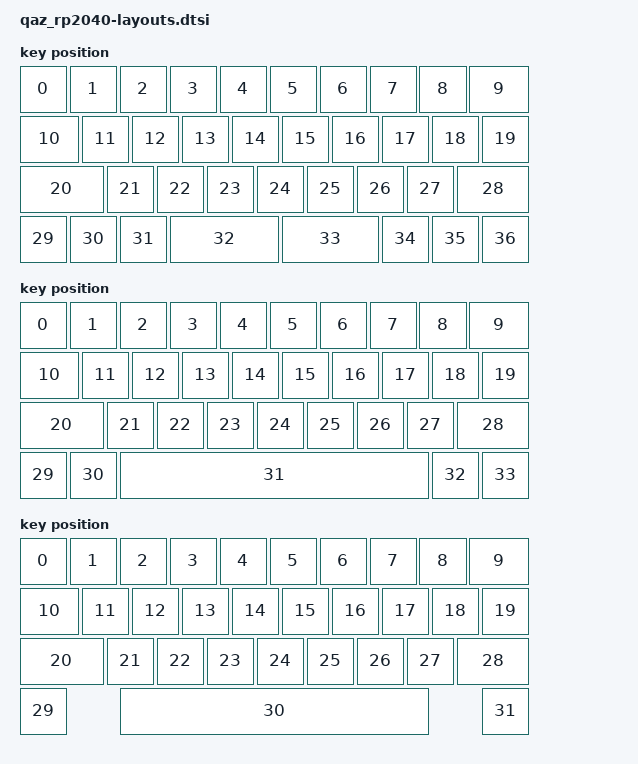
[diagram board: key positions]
/*
 * Copyright (c) 2024 The ZMK Contributors
 *
 * SPDX-License-Identifier: MIT
 */

#include <physical_layouts.dtsi>

/ {
    split_bar_layout: split_bar_layout {
        compatible = "zmk,physical-layout";
        display-name = "Split Bar";
        transform = <&split_bar_transform>;

        keys //                      w   h    x    y     rot    rx    ry
            = <&key_physical_attrs 100 100    0    0       0     0     0>
            , <&key_physical_attrs 100 100  100    0       0     0     0>
            , <&key_physical_attrs 100 100  200    0       0     0     0>
            , <&key_physical_attrs 100 100  300    0       0     0     0>
            , <&key_physical_attrs 100 100  400    0       0     0     0>
            , <&key_physical_attrs 100 100  500    0       0     0     0>
            , <&key_physical_attrs 100 100  600    0       0     0     0>
            , <&key_physical_attrs 100 100  700    0       0     0     0>
            , <&key_physical_attrs 100 100  800    0       0     0     0>
            , <&key_physical_attrs 125 100  900    0       0     0     0>

            , <&key_physical_attrs 125 100    0  100       0     0     0>
            , <&key_physical_attrs 100 100  125  100       0     0     0>
            , <&key_physical_attrs 100 100  225  100       0     0     0>
            , <&key_physical_attrs 100 100  325  100       0     0     0>
            , <&key_physical_attrs 100 100  425  100       0     0     0>
            , <&key_physical_attrs 100 100  525  100       0     0     0>
            , <&key_physical_attrs 100 100  625  100       0     0     0>
            , <&key_physical_attrs 100 100  725  100       0     0     0>
            , <&key_physical_attrs 100 100  825  100       0     0     0>
            , <&key_physical_attrs 100 100  925  100       0     0     0>

            , <&key_physical_attrs 175 100    0  200       0     0     0>
            , <&key_physical_attrs 100 100  175  200       0     0     0>
            , <&key_physical_attrs 100 100  275  200       0     0     0>
            , <&key_physical_attrs 100 100  375  200       0     0     0>
            , <&key_physical_attrs 100 100  475  200       0     0     0>
            , <&key_physical_attrs 100 100  575  200       0     0     0>
            , <&key_physical_attrs 100 100  675  200       0     0     0>
            , <&key_physical_attrs 100 100  775  200       0     0     0>
            , <&key_physical_attrs 150 100  875  200       0     0     0>

            , <&key_physical_attrs 100 100    0  300       0     0     0>
            , <&key_physical_attrs 100 100  100  300       0     0     0>
            , <&key_physical_attrs 100 100  200  300       0     0     0>
            , <&key_physical_attrs 225 100  300  300       0     0     0>
            , <&key_physical_attrs 200 100  525  300       0     0     0>
            , <&key_physical_attrs 100 100  725  300       0     0     0>
            , <&key_physical_attrs 100 100  825  300       0     0     0>
            , <&key_physical_attrs 100 100  925  300       0     0     0>
            ;
    };

    big_bar_layout: big_bar_layout {
        compatible = "zmk,physical-layout";
        display-name = "Big Bar";
        transform = <&big_bar_transform>;

        keys //                      w   h    x    y     rot    rx    ry
            = <&key_physical_attrs 100 100    0    0       0     0     0>
            , <&key_physical_attrs 100 100  100    0       0     0     0>
            , <&key_physical_attrs 100 100  200    0       0     0     0>
            , <&key_physical_attrs 100 100  300    0       0     0     0>
            , <&key_physical_attrs 100 100  400    0       0     0     0>
            , <&key_physical_attrs 100 100  500    0       0     0     0>
            , <&key_physical_attrs 100 100  600    0       0     0     0>
            , <&key_physical_attrs 100 100  700    0       0     0     0>
            , <&key_physical_attrs 100 100  800    0       0     0     0>
            , <&key_physical_attrs 125 100  900    0       0     0     0>

            , <&key_physical_attrs 125 100    0  100       0     0     0>
            , <&key_physical_attrs 100 100  125  100       0     0     0>
            , <&key_physical_attrs 100 100  225  100       0     0     0>
            , <&key_physical_attrs 100 100  325  100       0     0     0>
            , <&key_physical_attrs 100 100  425  100       0     0     0>
            , <&key_physical_attrs 100 100  525  100       0     0     0>
            , <&key_physical_attrs 100 100  625  100       0     0     0>
            , <&key_physical_attrs 100 100  725  100       0     0     0>
            , <&key_physical_attrs 100 100  825  100       0     0     0>
            , <&key_physical_attrs 100 100  925  100       0     0     0>

            , <&key_physical_attrs 175 100    0  200       0     0     0>
            , <&key_physical_attrs 100 100  175  200       0     0     0>
            , <&key_physical_attrs 100 100  275  200       0     0     0>
            , <&key_physical_attrs 100 100  375  200       0     0     0>
            , <&key_physical_attrs 100 100  475  200       0     0     0>
            , <&key_physical_attrs 100 100  575  200       0     0     0>
            , <&key_physical_attrs 100 100  675  200       0     0     0>
            , <&key_physical_attrs 100 100  775  200       0     0     0>
            , <&key_physical_attrs 150 100  875  200       0     0     0>

            , <&key_physical_attrs 100 100    0  300       0     0     0>
            , <&key_physical_attrs 100 100  100  300       0     0     0>
            , <&key_physical_attrs 625 100  200  300       0     0     0>
            , <&key_physical_attrs 100 100  825  300       0     0     0>
            , <&key_physical_attrs 100 100  925  300       0     0     0>
            ;
    };

    /omit-if-no-ref/ wkl_big_bar_layout: wkl_big_bar_layout {
        compatible = "zmk,physical-layout";
        display-name = "WKL Big Bar";
        transform = <&wkl_big_bar_transform>;

        keys //                      w   h    x    y     rot    rx    ry
            = <&key_physical_attrs 100 100    0    0       0     0     0>
            , <&key_physical_attrs 100 100  100    0       0     0     0>
            , <&key_physical_attrs 100 100  200    0       0     0     0>
            , <&key_physical_attrs 100 100  300    0       0     0     0>
            , <&key_physical_attrs 100 100  400    0       0     0     0>
            , <&key_physical_attrs 100 100  500    0       0     0     0>
            , <&key_physical_attrs 100 100  600    0       0     0     0>
            , <&key_physical_attrs 100 100  700    0       0     0     0>
            , <&key_physical_attrs 100 100  800    0       0     0     0>
            , <&key_physical_attrs 125 100  900    0       0     0     0>

            , <&key_physical_attrs 125 100    0  100       0     0     0>
            , <&key_physical_attrs 100 100  125  100       0     0     0>
            , <&key_physical_attrs 100 100  225  100       0     0     0>
            , <&key_physical_attrs 100 100  325  100       0     0     0>
            , <&key_physical_attrs 100 100  425  100       0     0     0>
            , <&key_physical_attrs 100 100  525  100       0     0     0>
            , <&key_physical_attrs 100 100  625  100       0     0     0>
            , <&key_physical_attrs 100 100  725  100       0     0     0>
            , <&key_physical_attrs 100 100  825  100       0     0     0>
            , <&key_physical_attrs 100 100  925  100       0     0     0>

            , <&key_physical_attrs 175 100    0  200       0     0     0>
            , <&key_physical_attrs 100 100  175  200       0     0     0>
            , <&key_physical_attrs 100 100  275  200       0     0     0>
            , <&key_physical_attrs 100 100  375  200       0     0     0>
            , <&key_physical_attrs 100 100  475  200       0     0     0>
            , <&key_physical_attrs 100 100  575  200       0     0     0>
            , <&key_physical_attrs 100 100  675  200       0     0     0>
            , <&key_physical_attrs 100 100  775  200       0     0     0>
            , <&key_physical_attrs 150 100  875  200       0     0     0>

            , <&key_physical_attrs 100 100    0  300       0     0     0>
            , <&key_physical_attrs 625 100  200  300       0     0     0>
            , <&key_physical_attrs 100 100  925  300       0     0     0>
            ;
    };

    /omit-if-no-ref/ wkl_split_bar_layout: wkl_split_bar_layout {
        compatible = "zmk,physical-layout";
        display-name = "WKL Split Bar";
        transform = <&wkl_split_bar_transform>;

        keys //                      w   h    x    y     rot    rx    ry
            = <&key_physical_attrs 100 100    0    0       0     0     0>
            , <&key_physical_attrs 100 100  100    0       0     0     0>
            , <&key_physical_attrs 100 100  200    0       0     0     0>
            , <&key_physical_attrs 100 100  300    0       0     0     0>
            , <&key_physical_attrs 100 100  400    0       0     0     0>
            , <&key_physical_attrs 100 100  500    0       0     0     0>
            , <&key_physical_attrs 100 100  600    0       0     0     0>
            , <&key_physical_attrs 100 100  700    0       0     0     0>
            , <&key_physical_attrs 100 100  800    0       0     0     0>
            , <&key_physical_attrs 125 100  900    0       0     0     0>

            , <&key_physical_attrs 125 100    0  100       0     0     0>
            , <&key_physical_attrs 100 100  125  100       0     0     0>
            , <&key_physical_attrs 100 100  225  100       0     0     0>
            , <&key_physical_attrs 100 100  325  100       0     0     0>
            , <&key_physical_attrs 100 100  425  100       0     0     0>
            , <&key_physical_attrs 100 100  525  100       0     0     0>
            , <&key_physical_attrs 100 100  625  100       0     0     0>
            , <&key_physical_attrs 100 100  725  100       0     0     0>
            , <&key_physical_attrs 100 100  825  100       0     0     0>
            , <&key_physical_attrs 100 100  925  100       0     0     0>

            , <&key_physical_attrs 175 100    0  200       0     0     0>
            , <&key_physical_attrs 100 100  175  200       0     0     0>
            , <&key_physical_attrs 100 100  275  200       0     0     0>
            , <&key_physical_attrs 100 100  375  200       0     0     0>
            , <&key_physical_attrs 100 100  475  200       0     0     0>
            , <&key_physical_attrs 100 100  575  200       0     0     0>
            , <&key_physical_attrs 100 100  675  200       0     0     0>
            , <&key_physical_attrs 100 100  775  200       0     0     0>
            , <&key_physical_attrs 150 100  875  200       0     0     0>

            , <&key_physical_attrs 100 100    0  300       0     0     0>
            , <&key_physical_attrs 100 100  200  300       0     0     0>
            , <&key_physical_attrs 225 100  300  300       0     0     0>
            , <&key_physical_attrs 200 100  525  300       0     0     0>
            , <&key_physical_attrs 100 100  725  300       0     0     0>
            , <&key_physical_attrs 100 100  925  300       0     0     0>
            ;
    };

    /omit-if-no-ref/ hhkb_split_bar_layout: hhkb_split_bar_layout {
        compatible = "zmk,physical-layout";
        display-name = "HHKB Split Bar";
        transform = <&hhkb_split_bar_transform>;

        keys //                      w   h    x    y     rot    rx    ry
            = <&key_physical_attrs 100 100    0    0       0     0     0>
            , <&key_physical_attrs 100 100  100    0       0     0     0>
            , <&key_physical_attrs 100 100  200    0       0     0     0>
            , <&key_physical_attrs 100 100  300    0       0     0     0>
            , <&key_physical_attrs 100 100  400    0       0     0     0>
            , <&key_physical_attrs 100 100  500    0       0     0     0>
            , <&key_physical_attrs 100 100  600    0       0     0     0>
            , <&key_physical_attrs 100 100  700    0       0     0     0>
            , <&key_physical_attrs 100 100  800    0       0     0     0>
            , <&key_physical_attrs 125 100  900    0       0     0     0>

            , <&key_physical_attrs 125 100    0  100       0     0     0>
            , <&key_physical_attrs 100 100  125  100       0     0     0>
            , <&key_physical_attrs 100 100  225  100       0     0     0>
            , <&key_physical_attrs 100 100  325  100       0     0     0>
            , <&key_physical_attrs 100 100  425  100       0     0     0>
            , <&key_physical_attrs 100 100  525  100       0     0     0>
            , <&key_physical_attrs 100 100  625  100       0     0     0>
            , <&key_physical_attrs 100 100  725  100       0     0     0>
            , <&key_physical_attrs 100 100  825  100       0     0     0>
            , <&key_physical_attrs 100 100  925  100       0     0     0>

            , <&key_physical_attrs 175 100    0  200       0     0     0>
            , <&key_physical_attrs 100 100  175  200       0     0     0>
            , <&key_physical_attrs 100 100  275  200       0     0     0>
            , <&key_physical_attrs 100 100  375  200       0     0     0>
            , <&key_physical_attrs 100 100  475  200       0     0     0>
            , <&key_physical_attrs 100 100  575  200       0     0     0>
            , <&key_physical_attrs 100 100  675  200       0     0     0>
            , <&key_physical_attrs 100 100  775  200       0     0     0>
            , <&key_physical_attrs 150 100  875  200       0     0     0>

            , <&key_physical_attrs 100 100  100  300       0     0     0>
            , <&key_physical_attrs 100 100  200  300       0     0     0>
            , <&key_physical_attrs 225 100  300  300       0     0     0>
            , <&key_physical_attrs 200 100  525  300       0     0     0>
            , <&key_physical_attrs 100 100  725  300       0     0     0>
            , <&key_physical_attrs 100 100  825  300       0     0     0>
            ;
    };

    /omit-if-no-ref/ hhkb_big_bar_layout: hhkb_big_bar_layout {
        compatible = "zmk,physical-layout";
        display-name = "HHKB Big Bar";
        transform = <&hhkb_big_bar_transform>;

        keys //                      w   h    x    y     rot    rx    ry
            = <&key_physical_attrs 100 100    0    0       0     0     0>
            , <&key_physical_attrs 100 100  100    0       0     0     0>
            , <&key_physical_attrs 100 100  200    0       0     0     0>
            , <&key_physical_attrs 100 100  300    0       0     0     0>
            , <&key_physical_attrs 100 100  400    0       0     0     0>
            , <&key_physical_attrs 100 100  500    0       0     0     0>
            , <&key_physical_attrs 100 100  600    0       0     0     0>
            , <&key_physical_attrs 100 100  700    0       0     0     0>
            , <&key_physical_attrs 100 100  800    0       0     0     0>
            , <&key_physical_attrs 125 100  900    0       0     0     0>

            , <&key_physical_attrs 125 100    0  100       0     0     0>
            , <&key_physical_attrs 100 100  125  100       0     0     0>
            , <&key_physical_attrs 100 100  225  100       0     0     0>
            , <&key_physical_attrs 100 100  325  100       0     0     0>
            , <&key_physical_attrs 100 100  425  100       0     0     0>
            , <&key_physical_attrs 100 100  525  100       0     0     0>
            , <&key_physical_attrs 100 100  625  100       0     0     0>
            , <&key_physical_attrs 100 100  725  100       0     0     0>
            , <&key_physical_attrs 100 100  825  100       0     0     0>
            , <&key_physical_attrs 100 100  925  100       0     0     0>

            , <&key_physical_attrs 175 100    0  200       0     0     0>
            , <&key_physical_attrs 100 100  175  200       0     0     0>
            , <&key_physical_attrs 100 100  275  200       0     0     0>
            , <&key_physical_attrs 100 100  375  200       0     0     0>
            , <&key_physical_attrs 100 100  475  200       0     0     0>
            , <&key_physical_attrs 100 100  575  200       0     0     0>
            , <&key_physical_attrs 100 100  675  200       0     0     0>
            , <&key_physical_attrs 100 100  775  200       0     0     0>
            , <&key_physical_attrs 150 100  875  200       0     0     0>

            , <&key_physical_attrs 100 100  100  300       0     0     0>
            , <&key_physical_attrs 625 100  200  300       0     0     0>
            , <&key_physical_attrs 100 100  825  300       0     0     0>
            ;
    };


    position_map {
        compatible = "zmk,physical-layout-position-map";

        split_bar_posmap {
            physical-layout = <&split_bar_layout>;
            positions = <29 30 31 32 33 34 35 36>;
        };

        big_bar_posmap {
            physical-layout = <&big_bar_layout>;
            positions = <29 30 34 35 31 36 32 33>;
        };

        wkl_big_bar_posmap {
            physical-layout = <&wkl_big_bar_layout>;
            positions = <29 32 33 34 30 35 36 31>;
        };

        wkl_split_bar_posmap {
            physical-layout = <&wkl_split_bar_layout>;
            positions = <29 35 30 31 32 33 36 34>;
        };

        hhkb_split_bar_posmap {
            physical-layout = <&hhkb_split_bar_layout>;
            positions = <35 29 30 31 32 33 34 36>;
        };

        hhkb_big_bar_posmap {
            physical-layout = <&hhkb_big_bar_layout>;
            positions = <32 29 33 34 30 35 31 36>;
        };
    };
};
